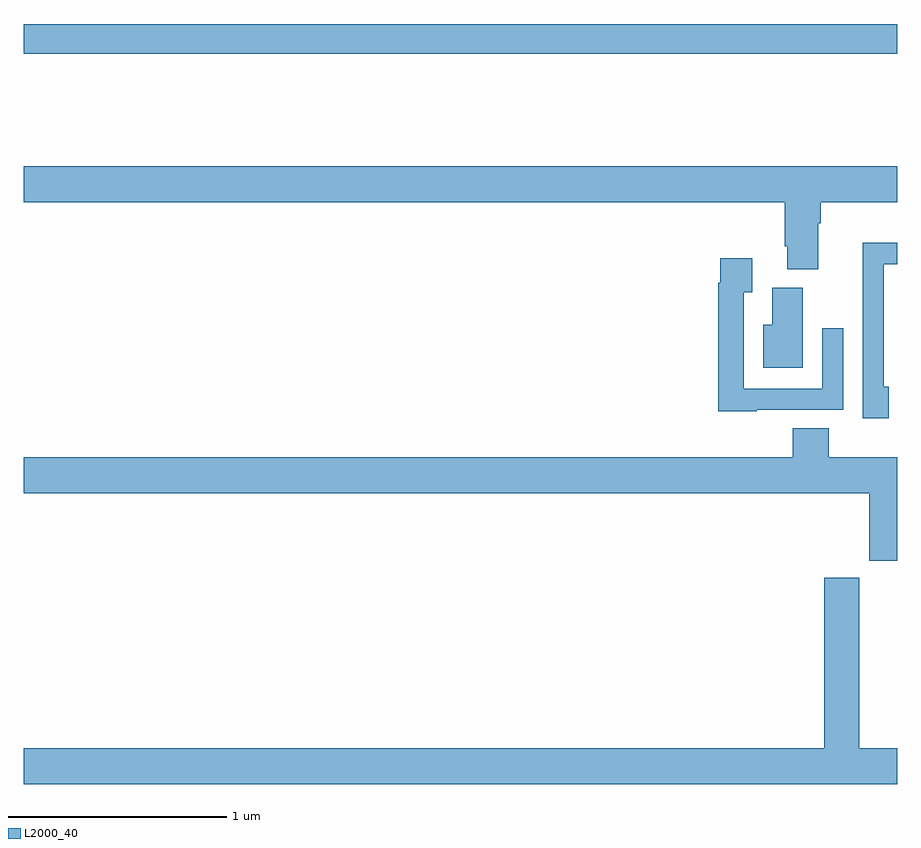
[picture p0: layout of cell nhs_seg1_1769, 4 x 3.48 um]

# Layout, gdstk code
import gdstk
lib = gdstk.Library(unit=1e-6, precision=1e-09)
def R(c, l, rs):  # rectangles x0, y0, x1, y1
    for r in rs: c.add(gdstk.rectangle(r[:2], r[2:], *l))
def P(c, l, *ps):  # polygons
    for p in ps: c.add(gdstk.Polygon(p, *l))
L2000_40 = (2000, 40)

nhs_seg1_1769 = lib.new_cell('nhs_seg1_1769')
R(nhs_seg1_1769, L2000_40, [(207,565.732,211,565.868)])
P(nhs_seg1_1769, L2000_40, [(210.637,564.956),(210.65,564.956),(210.65,565.052),(211,565.052),(211,565.216),(207,565.216),(207,565.052),(210.485,565.052),(210.485,564.85),(210.497,564.85),(210.497,564.745),(210.637,564.745)],
  [(210.961,564.207),(210.939,564.207),(210.939,564.768),(211,564.768),(211,564.866),(210.842,564.866),(210.842,564.562),(210.843,564.562),(210.843,564.063),(210.961,564.063)],
  [(210.357,564.102),(210.753,564.102),(210.753,564.475),(210.657,564.475),(210.657,564.198),(210.297,564.198),(210.297,564.64),(210.337,564.64),(210.337,564.796),(210.189,564.796),(210.189,564.683),(210.181,564.683),(210.181,564.095),(210.357,564.095)],
  [(210.568,564.66),(210.428,564.66),(210.428,564.49),(210.386,564.49),(210.386,564.293),(210.568,564.293)],
  [(210.521,564.017),(210.521,563.884),(207,563.884),(207,563.72),(210.872,563.72),(210.872,563.411),(211,563.411),(211,563.884),(210.686,563.884),(210.686,564.017)],
  [(211,562.552),(210.825,562.552),(210.825,563.332),(210.665,563.332),(210.665,562.552),(207,562.552),(207,562.388),(211,562.388)])

lib.write_gds('nhs_seg1_1769.gds')
